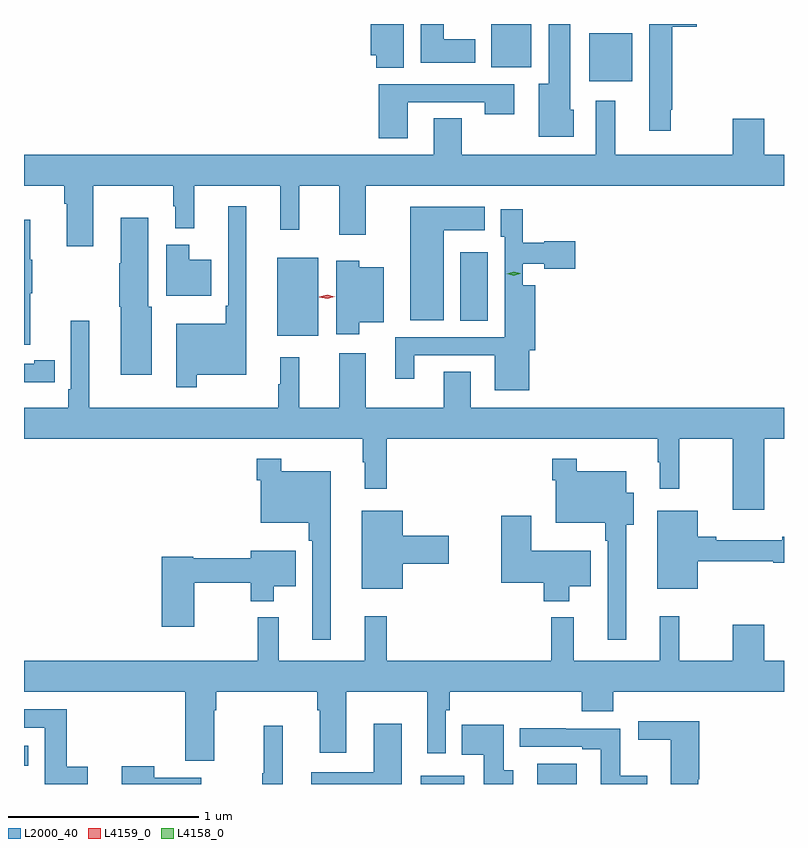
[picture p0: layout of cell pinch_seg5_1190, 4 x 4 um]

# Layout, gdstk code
import gdstk
lib = gdstk.Library(unit=1e-6, precision=1e-09)
def R(c, l, rs):  # rectangles x0, y0, x1, y1
    for r in rs: c.add(gdstk.rectangle(r[:2], r[2:], *l))
def P(c, l, *ps):  # polygons
    for p in ps: c.add(gdstk.Polygon(p, *l))
L2000_40 = (2000, 40)
L4158_0 = (4158, 0)
L4159_0 = (4159, 0)

pinch_seg5_1190 = lib.new_cell('pinch_seg5_1190')
R(pinch_seg5_1190, L2000_40, [(415.112,880.251,415.342,880.294), (415.727,880.251,415.933,880.357), (413.025,880.347,413.048,880.453), (414.359,882.611,414.574,883.021), (415.322,882.688,415.465,883.051), (416,883.949,416.227,884.203), (415.484,884.024,415.696,884.251)])
P(pinch_seg5_1190, L2000_40, [(415.918,883.8),(415.9,883.8),(415.9,884.251),(415.787,884.251),(415.787,883.936),(415.733,883.936),(415.733,883.658),(415.918,883.658)],
  [(416.429,883.801),(416.437,883.801),(416.437,884.237),(416.566,884.237),(416.566,884.251),(416.315,884.251),(416.315,883.689),(416.429,883.689)],
  [(415.399,884.17),(415.234,884.17),(415.234,884.251),(415.112,884.251),(415.112,884.048),(415.399,884.048)],
  [(415.024,884.251),(414.851,884.251),(414.851,884.087),(414.878,884.087),(414.878,884.02),(415.024,884.02)],
  [(415.045,883.839),(415.45,883.839),(415.45,883.776),(415.606,883.776),(415.606,883.935),(414.893,883.935),(414.893,883.65),(415.045,883.65)],
  [(413.389,883.4),(413.811,883.4),(413.811,883.293),(413.822,883.293),(413.822,883.175),(413.921,883.175),(413.921,883.4),(414.374,883.4),(414.374,883.167),(414.473,883.167),(414.473,883.4),(414.683,883.4),(414.683,883.143),(414.823,883.143),(414.823,883.4),(417.025,883.4),(417.025,883.564),(416.92,883.564),(416.92,883.753),(416.756,883.753),(416.756,883.564),(416.137,883.564),(416.137,883.846),(416.033,883.846),(416.033,883.564),(415.329,883.564),(415.329,883.754),(415.181,883.754),(415.181,883.564),(413.025,883.564),(413.025,883.4),(413.237,883.4),(413.237,883.304),(413.249,883.304),(413.249,883.08),(413.389,883.08)],
  [(413.935,882.404),(414.196,882.404),(414.196,883.291),(414.099,883.291),(414.099,882.769),(414.087,882.769),(414.087,882.673),(413.826,882.673),(413.826,882.339),(413.935,882.339)],
  [(415.234,883.166),(415.45,883.166),(415.45,883.288),(415.058,883.288),(415.058,882.692),(415.234,882.692)],
  [(415.684,882.533),(415.717,882.533),(415.717,882.877),(415.65,882.877),(415.65,882.99),(415.764,882.99),(415.764,882.962),(415.927,882.962),(415.927,883.107),(415.764,883.107),(415.764,883.099),(415.65,883.099),(415.65,883.276),(415.535,883.276),(415.535,883.131),(415.554,883.131),(415.554,882.603),(414.98,882.603),(414.98,882.384),(415.078,882.384),(415.078,882.507),(415.502,882.507),(415.502,882.323),(415.684,882.323)],
  [(413.698,882.762),(413.68,882.762),(413.68,883.231),(413.534,883.231),(413.534,882.992),(413.527,882.992),(413.527,882.762),(413.534,882.762),(413.534,882.404),(413.698,882.404)],
  [(413.057,882.835),(413.068,882.835),(413.068,883.009),(413.057,883.009),(413.057,883.222),(413.025,883.222),(413.025,882.564),(413.057,882.564)],
  [(414.01,883.009),(413.896,883.009),(413.896,883.09),(413.774,883.09),(413.774,882.821),(414.01,882.821)],
  [(414.79,882.68),(414.919,882.68),(414.919,882.97),(414.79,882.97),(414.79,883.006),(414.668,883.006),(414.668,882.618),(414.79,882.618)],
  [(416.92,882.068),(417.025,882.068),(417.025,882.232),(415.375,882.232),(415.375,882.422),(415.235,882.422),(415.235,882.232),(414.823,882.232),(414.823,882.517),(414.683,882.517),(414.683,882.232),(414.473,882.232),(414.473,882.496),(414.374,882.496),(414.374,882.356),(414.363,882.356),(414.363,882.232),(413.368,882.232),(413.368,882.688),(413.271,882.688),(413.271,882.328),(413.258,882.328),(413.258,882.232),(413.025,882.232),(413.025,882.068),(414.807,882.068),(414.807,881.945),(414.818,881.945),(414.818,881.805),(414.935,881.805),(414.935,882.068),(416.361,882.068),(416.361,881.945),(416.372,881.945),(416.372,881.805),(416.474,881.805),(416.474,882.068),(416.756,882.068),(416.756,881.694),(416.92,881.694)],
  [(413.078,882.366),(413.186,882.366),(413.186,882.482),(413.078,882.482),(413.078,882.462),(413.025,882.462),(413.025,882.365),(413.078,882.365)],
  [(414.64,881.896),(414.379,881.896),(414.379,881.962),(414.25,881.962),(414.25,881.849),(414.27,881.849),(414.27,881.627),(414.523,881.627),(414.523,881.531),(414.543,881.531),(414.543,881.01),(414.64,881.01)],
  [(416.194,881.615),(416.233,881.615),(416.233,881.785),(416.194,881.785),(416.194,881.896),(415.933,881.896),(415.933,881.962),(415.804,881.962),(415.804,881.849),(415.824,881.849),(415.824,881.627),(416.085,881.627),(416.085,881.531),(416.097,881.531),(416.097,881.01),(416.194,881.01)],
  [(415.018,881.411),(415.261,881.411),(415.261,881.558),(415.018,881.558),(415.018,881.689),(414.803,881.689),(414.803,881.279),(415.018,881.279)],
  [(416.572,881.424),(416.968,881.424),(416.968,881.416),(417.025,881.416),(417.025,881.552),(417.016,881.552),(417.016,881.533),(416.668,881.533),(416.668,881.552),(416.572,881.552),(416.572,881.689),(416.357,881.689),(416.357,881.279),(416.572,881.279)],
  [(415.894,881.291),(416.008,881.291),(416.008,881.479),(415.696,881.479),(415.696,881.662),(415.538,881.662),(415.538,881.309),(415.76,881.309),(415.76,881.213),(415.894,881.213)],
  [(413.92,881.31),(414.218,881.31),(414.218,881.213),(414.34,881.213),(414.34,881.291),(414.454,881.291),(414.454,881.479),(414.218,881.479),(414.218,881.438),(413.916,881.438),(413.916,881.446),(413.75,881.446),(413.75,881.079),(413.92,881.079)],
  [(414.025,880.64),(414.038,880.64),(414.038,880.736),(414.569,880.736),(414.569,880.64),(414.581,880.64),(414.581,880.416),(414.721,880.416),(414.721,880.736),(415.148,880.736),(415.148,880.413),(415.245,880.413),(415.245,880.64),(415.265,880.64),(415.265,880.736),(415.961,880.736),(415.961,880.634),(416.126,880.634),(416.126,880.736),(417.025,880.736),(417.025,880.9),(416.92,880.9),(416.92,881.089),(416.756,881.089),(416.756,880.9),(416.474,880.9),(416.474,881.134),(416.372,881.134),(416.372,880.9),(415.919,880.9),(415.919,881.128),(415.801,881.128),(415.801,880.9),(414.935,880.9),(414.935,881.134),(414.818,881.134),(414.818,880.9),(414.365,880.9),(414.365,881.128),(414.255,881.128),(414.255,880.9),(413.025,880.9),(413.025,880.736),(413.873,880.736),(413.873,880.374),(414.025,880.374)],
  [(413.36,880.342),(413.249,880.342),(413.249,880.644),(413.025,880.644),(413.025,880.548),(413.133,880.548),(413.133,880.251),(413.36,880.251)],
  [(416.574,880.277),(416.579,880.277),(416.579,880.582),(416.259,880.582),(416.259,880.484),(416.429,880.484),(416.429,880.251),(416.574,880.251)],
  [(415.012,880.567),(414.866,880.567),(414.866,880.312),(414.537,880.312),(414.537,880.251),(415.012,880.251)],
  [(415.6,880.323),(415.549,880.323),(415.549,880.564),(415.33,880.564),(415.33,880.406),(415.445,880.406),(415.445,880.251),(415.6,880.251)],
  [(414.388,880.558),(414.286,880.558),(414.286,880.308),(414.279,880.308),(414.279,880.251),(414.388,880.251)],
  [(416.305,880.294),(416.162,880.294),(416.162,880.542),(415.877,880.542),(415.877,880.544),(415.635,880.544),(415.635,880.446),(415.964,880.446),(415.964,880.434),(416.061,880.434),(416.061,880.251),(416.305,880.251)],
  [(413.959,880.285),(413.711,880.285),(413.711,880.345),(413.54,880.345),(413.54,880.251),(413.959,880.251)])
P(pinch_seg5_1190, L4158_0, [(415.602,882.927),(415.567,882.936),(415.566,882.936),(415.567,882.936),(415.602,882.947),(415.637,882.938),(415.637,882.938),(415.637,882.937)])
P(pinch_seg5_1190, L4159_0, [(414.621,882.805),(414.58,882.814),(414.58,882.814),(414.58,882.815),(414.621,882.825),(414.661,882.815),(414.661,882.815),(414.661,882.815)])

lib.write_gds('pinch_seg5_1190.gds')
